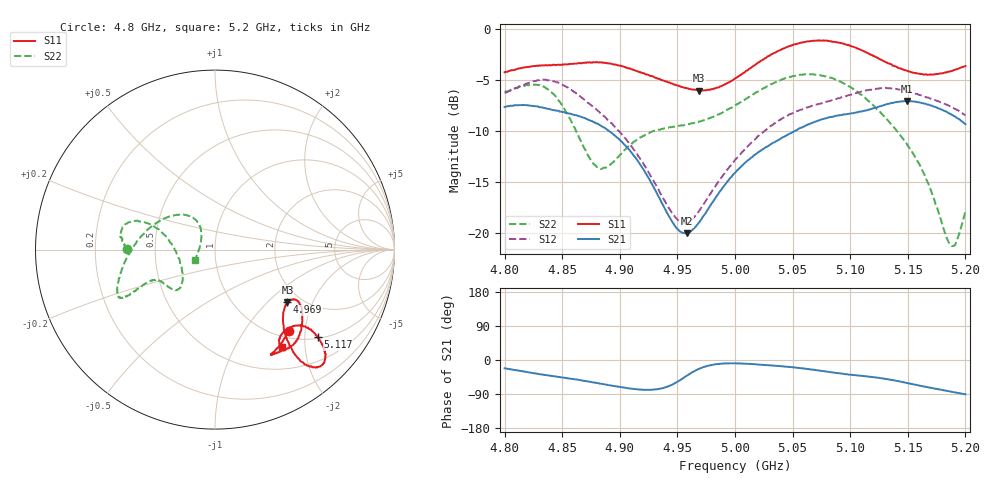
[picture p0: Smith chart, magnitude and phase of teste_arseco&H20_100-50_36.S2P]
! Network Analyzer HP8722D
! Hewlett-Packard
! Data name: Linha & Wilkinson
! Saver's name: Rodrigo Anjos
! Comments: Teste da utilização de aquisição
! continua pelo VNA HP8722D
! Time and date: 6/5/2025 12:52
!  Frequency  S11  S21  S12  S22
# HZ  S  MA R 50
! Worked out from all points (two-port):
!   401 points, 4.8 GHz to 5.2 GHz, reference 50 ohm
!   highest |S21| = -7.07 dB at 5.149 GHz (marker M1); lowest = -20.1 dB at 4.958 GHz (marker M2)
!   |S21| within 3 dB of the highest: start of sweep to 4.891 GHz; 5.051 GHz to end of sweep
!   lowest |S11| = -6.0 dB at 4.969 GHz (marker M3), VSWR 2.99, Z = 85.1 - j66.3 ohm
!   |S11| at or under -10 dB: nowhere
!   |S22| runs from -21.3 to -4.4 dB; largest |S21 - S12| = 0.95
!   S11 on the Smith chart (normalised r, x): 4.8 GHz: 1.13, -1.65; 4.969 GHz: 1.70, -1.33; 5.117 GHz: 1.04, -2.32; 5.2 GHz: 0.82, -1.57
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4.8e9  0.6124 -47.7  0.414 -21.9  0.4865 -175.9  0.4911 179.9
4.821e9  0.6506 -58.5  0.421 -32.6  0.543 176.7  0.5295 170.9
4.836e9  0.6648 -61.6  0.4077 -39.8  0.5637 168.2  0.5103 163.4
4.85e9  0.6671 -60.0  0.3911 -45.9  0.5324 159.0  0.4214 158.7
4.867e9  0.6788 -54.9  0.369 -53.9  0.4601 150.7  0.2752 166.3
4.885e9  0.6847 -49.0  0.3314 -63.3  0.3784 144.4  0.2068 -160.7
4.908e9  0.639 -41.0  0.2562 -75.0  0.2755 138.0  0.267 -133.9
4.934e9  0.5694 -33.2  0.1494 -76.3  0.1616 141.1  0.3204 -135.7
4.949e9  0.5294 -31.8  0.1057 -59.1  0.118 159.1  0.3333 -141.8
4.958e9  0.5126 -33.0  0.09935 -41.8  0.1123 176.5  0.3406 -145.8
4.969e9  0.4985 -36.0  0.1128 -22.9  0.1283 -164.8  0.3516 -149.9
5e9  0.5693 -47.9  0.1968 -8.9  0.2278 -146.9  0.4217 -154.2
5.038e9  0.7818 -52.6  0.2856 -16.0  0.3555 -147.8  0.5596 -152.2
5.067e9  0.8731 -48.4  0.3461 -25.2  0.4201 -154.5  0.5986 -155.2
5.088e9  0.8598 -44.4  0.3755 -34.1  0.4533 -160.1  0.5615 -162.6
5.117e9  0.7509 -40.4  0.4025 -44.2  0.5032 -172.5  0.4386 174.0
5.134e9  0.6754 -40.2  0.4299 -51.5  0.5122 177.3  0.3486 153.1
5.149e9  0.6237 -42.7  0.4431 -60.5  0.4948 168.7  0.2736 134.3
5.166e9  0.5978 -48.5  0.4279 -71.0  0.4616 161.1  0.1829 122.5
5.187e9  0.6191 -55.0  0.3826 -83.3  0.416 153.7  0.08733 158.0
5.192e9  0.632 -55.5  0.3679 -86.0  0.4024 152.1  0.08979 -178.8
5.2e9  0.6576 -55.6  0.341 -90.5  0.3773 149.3  0.1275 -152.4
